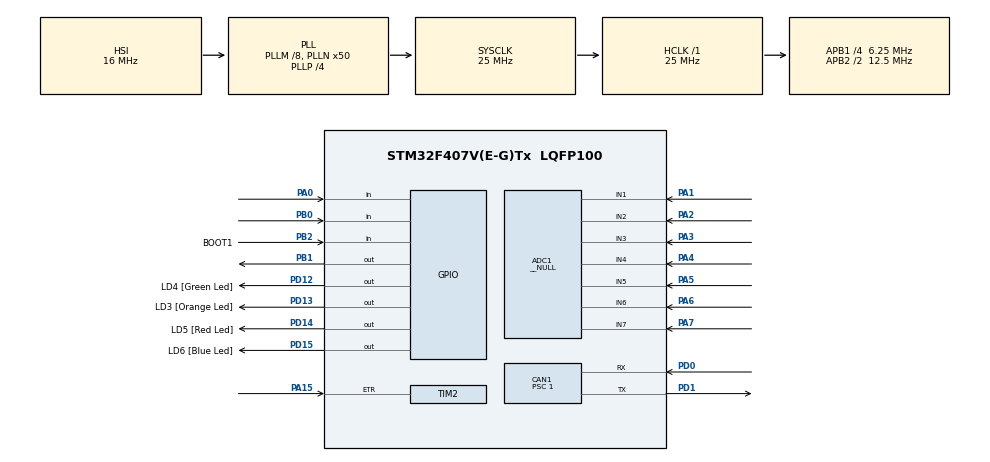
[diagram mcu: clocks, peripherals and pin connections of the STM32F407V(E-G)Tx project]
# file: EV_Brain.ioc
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ADC1.Channel-2\#ChannelRegularConversion=ADC_CHANNEL_1
ADC1.Channel-3\#ChannelRegularConversion=ADC_CHANNEL_1
ADC1.Channel-4\#ChannelRegularConversion=ADC_CHANNEL_1
ADC1.Channel-5\#ChannelRegularConversion=ADC_CHANNEL_1
ADC1.Channel-6\#ChannelRegularConversion=ADC_CHANNEL_1
ADC1.Channel-7\#ChannelRegularConversion=ADC_CHANNEL_1
ADC1.Channel-8\#ChannelRegularConversion=ADC_CHANNEL_1
ADC1.ContinuousConvMode=DISABLE
ADC1.DMAContinuousRequests=ENABLE
ADC1.Mode=__NULL
ADC1.NbrOfConversion=7
ADC1.NbrOfConversionFlag=1
ADC1.Rank-3\#ChannelRegularConversion=2
ADC1.Rank-4\#ChannelRegularConversion=3
ADC1.Rank-5\#ChannelRegularConversion=4
ADC1.Rank-6\#ChannelRegularConversion=5
ADC1.Rank-7\#ChannelRegularConversion=6
ADC1.Rank-8\#ChannelRegularConversion=7
ADC1.SamplingTime-3\#ChannelRegularConversion=ADC_SAMPLETIME_3CYCLES
ADC1.SamplingTime-4\#ChannelRegularConversion=ADC_SAMPLETIME_3CYCLES
ADC1.SamplingTime-5\#ChannelRegularConversion=ADC_SAMPLETIME_3CYCLES
ADC1.SamplingTime-6\#ChannelRegularConversion=ADC_SAMPLETIME_3CYCLES
ADC1.SamplingTime-7\#ChannelRegularConversion=ADC_SAMPLETIME_3CYCLES
ADC1.SamplingTime-8\#ChannelRegularConversion=ADC_SAMPLETIME_3CYCLES
ADC1.ScanConvMode=ENABLE
ADC1.master=1
CAN1.BS1=CAN_BS1_16TQ
CAN1.BS2=CAN_BS2_8TQ
CAN1.CalculateBaudRate=250000
CAN1.CalculateTimeBit=4000
CAN1.CalculateTimeQuantum=160.0
CAN1.Prescaler=1
Dma.ADC1.0.Direction=DMA_PERIPH_TO_MEMORY
Dma.ADC1.0.FIFOMode=DMA_FIFOMODE_DISABLE
Dma.ADC1.0.Instance=DMA2_Stream0
Dma.ADC1.0.MemDataAlignment=DMA_MDATAALIGN_HALFWORD
Dma.ADC1.0.MemInc=DMA_MINC_ENABLE
Dma.ADC1.0.Mode=DMA_CIRCULAR
Dma.ADC1.0.PeriphDataAlignment=DMA_PDATAALIGN_HALFWORD
Dma.ADC1.0.PeriphInc=DMA_PINC_DISABLE
Dma.ADC1.0.Priority=DMA_PRIORITY_VERY_HIGH
Dma.Request0=ADC1
Mcu.Family=STM32F4
Mcu.Name=STM32F407V(E-G)Tx
Mcu.Package=LQFP100
NVIC.ADC_IRQn=true\:0\:0\:false\:false\:true\:true\:true\:true
NVIC.CAN1_RX0_IRQn=true\:0\:0\:false\:false\:true\:true\:true\:true
NVIC.DMA2_Stream0_IRQn=true\:0\:0\:false\:false\:true\:false\:true\:true
NVIC.PriorityGroup=NVIC_PRIORITYGROUP_0
NVIC.TIM2_IRQn=true\:0\:0\:false\:false\:true\:true\:true\:true
PA0-WKUP.GPIO_PuPd=GPIO_PULLDOWN
PA0-WKUP.Signal=GPIO_Input
PA1.Signal=ADCx_IN1
PA13.GPIO_Label=SWDIO
PA13.Mode=Serial_Wire
PA13.Signal=SYS_JTMS-SWDIO
PA14.GPIO_Label=SWCLK
PA14.Mode=Serial_Wire
PA14.Signal=SYS_JTCK-SWCLK
PA15.Signal=S_TIM2_CH1_ETR
PA2.Signal=ADCx_IN2
PA3.Signal=ADCx_IN3
PA4.Signal=ADCx_IN4
PA5.Signal=ADCx_IN5
PA6.Signal=ADCx_IN6
PA7.Signal=ADCx_IN7
PB0.GPIO_PuPd=GPIO_PULLUP
PB0.Signal=GPIO_Input
PB1.GPIO_ModeDefaultOutputPP=GPIO_MODE_OUTPUT_PP
PB1.GPIO_PuPd=GPIO_PULLDOWN
PB1.PinState=GPIO_PIN_RESET
PB1.Signal=GPIO_Output
PB2.GPIO_Label=BOOT1
PB2.GPIO_Mode=GPIO_MODE_INPUT
PB2.GPIO_PuPd=GPIO_NOPULL
PB2.Signal=GPIO_Input
PD0.Mode=CAN_Activate
PD0.Signal=CAN1_RX
PD1.Mode=CAN_Activate
PD1.Signal=CAN1_TX
PD12.GPIO_Label=LD4 [Green Led]
PD12.GPIO_PuPd=GPIO_NOPULL
PD12.GPIO_Speed=GPIO_SPEED_FREQ_LOW
PD12.Signal=GPIO_Output
PD13.GPIO_Label=LD3 [Orange Led]
PD13.GPIO_PuPd=GPIO_NOPULL
PD13.GPIO_Speed=GPIO_SPEED_FREQ_LOW
PD13.Signal=GPIO_Output
PD14.GPIO_Label=LD5 [Red Led]
PD14.GPIO_PuPd=GPIO_NOPULL
PD14.GPIO_Speed=GPIO_SPEED_FREQ_LOW
PD14.Signal=GPIO_Output
PD15.GPIO_Label=LD6 [Blue Led]
PD15.GPIO_PuPd=GPIO_NOPULL
PD15.GPIO_Speed=GPIO_SPEED_FREQ_LOW
PD15.Signal=GPIO_Output
ProjectManager.HeapSize=0x200
ProjectManager.StackSize=0x400
ProjectManager.TargetToolchain=STM32CubeIDE
RCC.48MHZClocksFreq_Value=14285714.285714285
RCC.AHBFreq_Value=25000000
RCC.APB1CLKDivider=RCC_HCLK_DIV4
RCC.APB1Freq_Value=6250000
RCC.APB1TimFreq_Value=12500000
RCC.APB2CLKDivider=RCC_HCLK_DIV2
RCC.APB2Freq_Value=12500000
RCC.APB2TimFreq_Value=25000000
RCC.CortexFreq_Value=25000000
RCC.HCLKFreq_Value=25000000
RCC.HSE_VALUE=8000000
RCC.HSI_VALUE=16000000
RCC.LSE_VALUE=32768
RCC.PLLM=8
RCC.PLLN=50
RCC.PLLP=RCC_PLLP_DIV4
RCC.PLLQ=7
RCC.SYSCLKFreq_VALUE=25000000
RCC.SYSCLKSource=RCC_SYSCLKSOURCE_PLLCLK
RCC.VCOOutputFreq_Value=100000000
SH.ADCx_IN1.0=ADC1_IN1,IN1
SH.ADCx_IN2.0=ADC1_IN2,IN2
SH.ADCx_IN3.0=ADC1_IN3,IN3
SH.ADCx_IN4.0=ADC1_IN4,IN4
SH.ADCx_IN5.0=ADC1_IN5,IN5
SH.ADCx_IN6.0=ADC1_IN6,IN6
SH.ADCx_IN7.0=ADC1_IN7,IN7
SH.S_TIM2_CH1_ETR.0=TIM2_ETR,ClockSourceETR_Mode2
board=STM32F407G-DISC1

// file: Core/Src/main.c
/* USER CODE BEGIN Header */
/**
 ******************************************************************************
 * @file           : main.c
 * @brief          : Main program body
 ******************************************************************************
 * @attention
 *
 * <h2><center>&copy; Copyright (c) 2020 STMicroelectronics.
 * All rights reserved.</center></h2>
 *
 * This software component is licensed by ST under Ultimate Liberty license
 * SLA0044, the "License"; You may not use this file except in compliance with
 * the License. You may obtain a copy of the License at:
 *                             www.st.com/SLA0044
 *
 ******************************************************************************
 */
/* USER CODE END Header */
#include "main.h"

/* USER CODE BEGIN Includes */
#include <string.h>
#include <math.h>
#include <stdio.h>
//#include "demanded_torque_calculator_grt_rtw/demanded_torque_calculator.h"

/* USER CODE END Includes */

/* USER CODE BEGIN PD */
#define false 0
#define true !(false)

/* USER CODE END PD */

ADC_HandleTypeDef hadc1;
DMA_HandleTypeDef hdma_adc1;

CAN_HandleTypeDef hcan1;

TIM_HandleTypeDef htim2;

/* USER CODE BEGIN PV */

// sensor value vars
volatile unsigned int ADC1_outputBuffer[7] = {0, 0, 0, 0, 0, 0, 0}; // raw ADC1 values buffer for DMA
volatile unsigned int acceleratorPedal_ADCoutput[2] = {0, 0};       // raw accelerator pedal ADC1 values
volatile unsigned int brakePedal_ADCoutput[2] = {0, 0};             // raw brake pedal ADC1 values
volatile unsigned int tfc_ADCoutput[3] = {0, 0, 0};                 // raw TFC ADC1 values
unsigned char  brakePedal_percent = 0;                         // brake pedal value as a percent

//unsigned char  brakePedal_percent = 0;       // brake pedal value as a percent
unsigned char  acceleratorPedal_percent = 0; // accelerator pedal value as a percent
unsigned short temp_sensor_DegreesC = 0;     // degrees C
unsigned short flow_sensor_LitresPerMin = 0; // L/min
unsigned short current_sensor_Amperes = 0;   // amps

unsigned char  max_torque_available = 0; // stores current max torque available from the motor based on motor rpm
unsigned short torque_setpoint = 0;      // torque setpoint to send to motor

unsigned char BMS_discrete_inputs_1 = 0; //bitfield for high level BMS information
//int BMS_current_measured = 0; //Not currently being used, we have our own current sensor
signed char min_cell_temp = 0; //temp measurements from BMS
signed char max_cell_temp = 0; //temp measurements from BMS
unsigned char state_of_charge = 0; //% charge, as determined by the BMS
unsigned short battery_voltage = 0; //0.1V per byte, I.E. receiving 0x12C0 = 4800 -> divite by 10 = 480V

unsigned long BMS_internal_state = 0;
unsigned long BMS_error_register_1 = 0; //These 2 error_registers are a bitfield containing information about any errors the BMS experiences

unsigned long BMS_error_register_2 = 0;
unsigned short BMS_discrete_inputs_2 = 0;

// CAN Device IDs
unsigned short MotorControllerCAN_acceptingID = 0x201; // send to this device ID if you're giving the MC a value
unsigned short MotorControllerCAN_sendingID = 0x181;   // you will recieve from this ID if you requested a MC value
unsigned short PowerDistUnitCAN_acceptingID = 0x710;
unsigned short BMS_heartbeat = 0x0A0;
/* A MSG periodically sent out by BMS to confirm that it's still alive
 *
 */
unsigned short BMS_sendingID_1 = 0x1A0;
/* Data from BMS_sendingID_1 includes:
 * some high level status in a bitfield
 * Minimum and Maximum cell temperature
 * Current current, current voltage, state of charge
 */
unsigned short BMS_sendingID_2 = 0x2A0;
/* Data from BMS_sendingID_2 includes:
 * BMS Internal state in a uint32 bitfield
 * Errors register part 1 in a uint32 bitfield
 */
unsigned short BMS_sendingID_3 = 0x3A0;
/* Data from BMS_sendingId_3 includes:
 * Errors register part 2, a uint32 bitfield
 * Additional discrete inputs
 */

// MC register IDs
unsigned short MotorControllerCAN_desiredTorque_register = 0x90;
unsigned short MotorControllerCAN_actualRPM_register = 0x30;

volatile unsigned char conversion_done = 0;

// CAN header templates
CAN_TxHeaderTypeDef sendCANheaderTemplate = {0x201, 0, CAN_ID_STD, CAN_RTR_DATA, 3, 0};

// TODO: figure out how to request data from the MC with this header
CAN_TxHeaderTypeDef requestCANheaderTemplate = {0x181, 0, CAN_ID_STD, CAN_RTR_DATA, 3, 0};

CAN_RxHeaderTypeDef pRxHeader; //This is where the header for received can headers is stored, so it can be processed
unsigned char rData[8]; // where the received CAN messages go

unsigned long pTxMailbox = 0; // CAN mailbox var

// TODO: what is this for?
// recieving CAL stuff
CAN_FilterTypeDef sFilterConfig; //CAN filter configuration

// TODO: figure out how the pedal map works and what it's for
// Constants for the pedal map
const unsigned char REGEN = 0;
const float GAMMA = 1;

// max and min potentiometer values
static const unsigned int AcceleratorPedalSensor1_MAX_ADC_VALUE = 0b111111111111;
static const unsigned int BrakePedalSensor1_MAX_ADC_VALUE = 0b111111111111;
static const unsigned int AcceleratorPedalSensor1_MIN_ADC_VALUE = 0b000000000000;
static const unsigned int BrakePedalSensor1_MIN_ADC_VALUE = 0b000000000000;
unsigned int AcceleratorPedalSensor1_ADC_RANGE = AcceleratorPedalSensor1_MAX_ADC_VALUE - AcceleratorPedalSensor1_MIN_ADC_VALUE;
unsigned int BrakePedalSensor1_ADC_RANGE = BrakePedalSensor1_MAX_ADC_VALUE - BrakePedalSensor1_MIN_ADC_VALUE;

// TODO: what is this for?
unsigned char PEAK_TORQUE_MODE = false;

unsigned char READY_TO_DRIVE = false;
//error handling vars

// TODO: are these values correct? what are they for?
const unsigned char MAX_CONTINUOUS_TORQUE = 125;
const unsigned char MAX_PEAK_TORQUE = 240;

/* USER CODE END PV */

void SystemClock_Config(void);
static void MX_GPIO_Init(void);
static void MX_DMA_Init(void);
static void MX_ADC1_Init(void);
static void MX_CAN1_Init(void);
static void MX_TIM2_Init(void);
/* USER CODE BEGIN PFP */

// TODO: does this need to be a function, or can the steps just be done in main?
static void Initialize_CAN_Filter(CAN_HandleTypeDef *hcan, CAN_FilterTypeDef *sFilterConfig, unsigned int fifo, unsigned int highId,
		unsigned int lowId, unsigned int highMask, unsigned int lowMask, unsigned int scale);

/* USER CODE END PFP */

/* USER CODE BEGIN 0 */

//this could be replaced with a global state variable if any errors are present
void emergency_stop(){
	/*TODO: literally all the error handling, we build race cars, not death traps
	 * We need a bunch of new global variables to be able to put the car into an error state
	 * Its about to get spicy up in here
	 *
	 *
	 *
	 *
	 *
	 *
	 *
	 */
	READY_TO_DRIVE = false; //first, change vehicle states
	//TODO: MANUALLY set the shutdown pin, just in case the code never actually executes
}

void BMS_Msg_received(){
	//resets the BMS watchdog timeout
	//TODO: implement this system
}

unsigned char receive_CAN(){ //takes inputs from things like the BMS and motor controller and stores incoming data in appropriate locations
	unsigned long msg_id = (pRxHeader.IDE == CAN_ID_STD)? pRxHeader.StdId : pRxHeader.ExtId;

	//TODO: make sure that this list contains the ID's of all other nodes that send to the MCU
	/*
	All BMS data is defined in the movicom CAN PDO protocols available on their website at the following
	link:
	It's pretty cool, you should check it out
	Pretty much, what the following code does is
	*/
	if(msg_id == BMS_heartbeat){
		BMS_Msg_received();
	}
	else if(msg_id == BMS_sendingID_1){
		BMS_Msg_received(); //VOODOO MAGIC DO NOT TOUCH
		BMS_discrete_inputs_1 = rData[0];
		//we dont need rData[1] and rData[2] right now, we have our own current sensor :)
		min_cell_temp = (signed char)rData[3];
		max_cell_temp = (signed char)rData[4];
		state_of_charge = rData[5];
		battery_voltage = ((((unsigned short)(rData[7]))<<8)+rData[6])/10;//Can you tell I don't trust the compiler's operator precedence?

		if (max_cell_temp > MAX_ACCUMULATOR_TEMP){ //do something if accumulator is overheating
			emergency_stop();
		} else if(min_cell_temp < MIN_ACCUMULATOR_TEMP){ //you don't want to start the car if too cold, it's bad for the accumulator

		}

	}else if(msg_id == BMS_sendingID_2){
		BMS_Msg_received(); //VOODOO MAGIC DO NOT TOUCH
		BMS_internal_state = ((((unsigned long)rData[0])<<24)|(((unsigned long)rData[1])<<16)|
				(((unsigned long)rData[2])<<8)|((unsigned long)rData[3])); //when the endian-ness is not correct :(
		BMS_error_register_1 = ((((unsigned long)rData[4])<<24)|(((unsigned long)rData[5])<<16)|
				(((unsigned long)rData[6])<<8)|((unsigned long)rData[7]));
		if(BMS_error_register_1 & 0xFFFFFFFF){ // the "& 0xFFFFFFFF" is here so in the future we can differentiate critical and non critical errors
			emergency_stop();
		}
	}else if(msg_id == BMS_sendingID_3){
		BMS_Msg_received();//VOODOO MAGIC DO NOT TOUCH
		BMS_error_register_2 = ((((unsigned long)rData[0])<<24)|(((unsigned long)rData[1])<<16)|
				(((unsigned long)rData[2])<<8)|((unsigned long)rData[3]));
		BMS_discrete_inputs_2 = ((((unsigned short)(rData[5]))<<8)+rData[4]);
		//rData[6] and rData[7] are reserved
		if(BMS_error_register_2 & 0xFFFFFFFF){ // the "& 0xFFFFFFFF" is here so in the future we can differentiate critical and non critical errors
			emergency_stop();
		}else if(BMS_discrete_inputs_2){//placeholder

		}
	}else if(msg_id == MotorControllerCAN_sendingID){

	} else { // unknown sender, what the fuck?

	}

	return 0;
}

// destinationRegisterID is the ID (hex) of the register to send the data to, defined as a var above
// data is just a value, not an array - this function formats it for you
unsigned char sendCAN_MotorController(unsigned short destinationRegisterID, unsigned int data)
{
  sendCANheaderTemplate.StdId = MotorControllerCAN_acceptingID;
  sendCANheaderTemplate.DLC = 3;

  unsigned char formattedData[3] = {destinationRegisterID, 0xFF & data, (0xFF00 & data) >> 8};

  if (HAL_CAN_AddTxMessage(&hcan1, &sendCANheaderTemplate, formattedData, &pTxMailbox))
  {
    return 0;
  }

  return 1;
}

// TODO: above in global vars, define vars for each of the channels (ex. unsigned char FAN1 = 0xB)
// if highAmpsBool == 0, PDU chooses 5A instead of 20A
// if enableCircuitBool == 0, PDU turns the circuit off
// channelHex should be one of the vars defined above
unsigned char sendCANmsg_PDU(unsigned char enableCircuitBool, unsigned char highAmpsBool, unsigned char channelHex)
{
  sendCANheaderTemplate.StdId = PowerDistUnitCAN_acceptingID;
  sendCANheaderTemplate.DLC = 1;

  unsigned char formattedData[1] = {0b00000000}; // HAL_CAN_AddTxMessage takes an array for data

  if (enableCircuitBool) formattedData[0] = formattedData[0] | 0b00010000;   // set enableCircuitBool bit
  if (highAmpsBool) formattedData[0] = formattedData[0] | 0b00100000; // set highAmpsBool bit
  formattedData[0] = formattedData[0] | (channelHex & 0b1111);       // set channel bits

  if (HAL_CAN_AddTxMessage(&hcan1, &sendCANheaderTemplate, formattedData, &pTxMailbox) == HAL_OK)
  {
    return 0;
  }

  return 1;
}

// TODO: implement dash function: define device IDs, figure out how to format data
/*
 * I am going to have a fucking aneurism. Why is the CAN message ID passed in as an argument to this function, but this function is specifically for the damn dash!!
 *
 * FIX IT!!!!!!!!
 */
unsigned char sendCANmsg_DASH(unsigned char destinationID, unsigned char data)
{
  sendCANheaderTemplate.StdId = destinationID;
  sendCANheaderTemplate.DLC = 1;

  unsigned char formattedData[1] = {0b00000000}; // HAL_CAN_AddTxMessage takes an array for data

  // TODO: format data here

  if (HAL_CAN_AddTxMessage(&hcan1, &sendCANheaderTemplate, formattedData, &pTxMailbox) == HAL_OK)
  {
    return 0;
  }

  return 1;
}

// TODO: which of this and the next function should we use to calculate torque?
// Returns the maximum continuous torque available at the current rpm
float max_cont_torque_available(unsigned short rpm)
{
	float t = (-0.000003 * rpm * rpm) + (0.0192 * rpm) + (97.429);
	if (t < 0)
		return 0;
	if (t > MAX_CONTINUOUS_TORQUE)
		return MAX_CONTINUOUS_TORQUE;
	return t;
}

// Returns the maximum peak torque available at the current rpm
// How was this derived?
float peak_torque_available(unsigned short rpm)
{
	float t = (-0.000001 * rpm * rpm) + (0.0029 * rpm) + (239.57);
	if (t < 0)
		return 0;
	if (t > MAX_PEAK_TORQUE)
		return MAX_PEAK_TORQUE;
	return t;
}

// TODO: when is the system plausible? I have an issue with the methodology here since the implausible state should exist for a few seconds
// Returns true if the car is not in or recovering from an implausible state
unsigned char plausibility_check(unsigned char acceleratorPedal_percent, unsigned char brakePedal_percent)
{
	// check if the system is in an implausible state
  return true;
}

// TODO: what is this for?
// Calculate the demanded torque based on the pedal sensor actuation
// Based on equation from section 3.3.3 of the paper linked below
// https://www.researchgate.net/publication/323522409_Design_and_realization_of_a_One-Pedal-Driving_algorithm_for_the_TUe_Lupo_EL
float pedal_map(float throttle, float max_trq)
{
  return pow((throttle - REGEN) / (max_trq - REGEN), GAMMA);
}

void driving_tasks() //TODO fix the damn spacing
{
	HAL_ADC_Start_DMA(&hadc1, (uint32_t*)ADC1_outputBuffer, 7);
	while(!conversion_done)
	{
		// wait
	}
	conversion_done = 0;

  // Convert [sensor value] -> [% activation]
  acceleratorPedal_percent = (unsigned char)((((double)(acceleratorPedal_ADCoutput[0] - AcceleratorPedalSensor1_MIN_ADC_VALUE)) / AcceleratorPedalSensor1_ADC_RANGE) * 100);
  brakePedal_percent = (unsigned char)((((double)(brakePedal_ADCoutput[0] - BrakePedalSensor1_MIN_ADC_VALUE)) / BrakePedalSensor1_ADC_RANGE) * 100);

  // TODO: check accelerator values against eachother.

  // TODO: Send pedal position can messages to LCD

  // If in a plausible state, convert pedal sensor actuation to desired torque
  if (plausibility_check(acceleratorPedal_percent, brakePedal_percent))
  {
    // TODO: get motor current RPM
    // TODO: calculate max torque value here, based on motor RPM
    max_torque_available = 100;
    torque_setpoint = (pedal_map(acceleratorPedal_percent, max_torque_available) / 240) * 32767;
  }else{
    // if not in plausible state, set demanded torque to 0
    // ! may need to trigger shutdown circuit here
    torque_setpoint = 0;
  }

  // TEST CAN MESSAGES

  // for PCAN
  //sendCAN_MotorController(0x069, acceleratorPedal_percent);
  //sendCAN_MotorController(0x096, brakePedal_percent);

  // for motor rpm
  //sendCAN_MotorController(0x31, (acceleratorPedal_percent*3277)/100); // send motor desired RPM to MC
  //sendCAN_MotorController(0x31, 0xF0F0);

  // Are we sending raw unprocessed ADC data to the Motor Controller? No torque map is applied here
  unsigned char formattedData[3] = {(0xF00 & acceleratorPedal_ADCoutput[0]) >> 8, (0x0F0 & acceleratorPedal_ADCoutput[0]) >> 4, 0x00F & acceleratorPedal_ADCoutput[0]}; //Someone explain pls
  sendCANheaderTemplate.StdId = MotorControllerCAN_acceptingID;
  sendCANheaderTemplate.DLC = 3;
  HAL_CAN_AddTxMessage(&hcan1, &sendCANheaderTemplate, formattedData, &pTxMailbox);

  // END TEST CAN MESSAGES

  // ACTUAL CAN MESSAGE
  //sendCAN_MotorController(MotorControllerCAN_desiredTorque_register, torque_setpoint); // send torque CAN message

  return;
}

void waiting_to_drive_tasks()
{
	// TODO: Figure out what signals we need to check for
	// for now it will just be a button press

	/*
	// Check if the button is pressed
	if((GPIOA->IDR & GPIO_PIN_0) == true)
	{
		// TODO: pdu message to play sound

		// TODO: pdu message to close hw enable switch on controller

		READY_TO_DRIVE = true;
		HAL_GPIO_WritePin(GPIOD, GPIO_PIN_13, GPIO_PIN_SET); //orng
	}
	*/

	if(HAL_GPIO_ReadPin(GPIOB, GPIO_PIN_0) == GPIO_PIN_RESET) //PB0, 35, has pull-up
	{
		READY_TO_DRIVE = true;
		HAL_GPIO_WritePin(GPIOD, GPIO_PIN_12, GPIO_PIN_SET); //grn
	}

	return;
}

/* USER CODE END 0 */

int main(void)
{

  /* MCU Configuration--------------------------------------------------------*/

  /* Reset of all peripherals, Initializes the Flash interface and the Systick. */
  HAL_Init();

  /* Configure the system clock */
  SystemClock_Config();

  /* Initialize all configured peripherals */
  MX_GPIO_Init();
  MX_DMA_Init();
  MX_ADC1_Init();
  MX_CAN1_Init();
  MX_TIM2_Init();
  /* USER CODE BEGIN 2 */

  HAL_GPIO_WritePin(GPIOD, GPIO_PIN_12, GPIO_PIN_RESET); //grn
  HAL_GPIO_WritePin(GPIOD, GPIO_PIN_13, GPIO_PIN_RESET); //orng

	//Initialize CAN filter - filter ID = TxHeader Id of other device, 32 bit scale. Enables and configs filter.
	Initialize_CAN_Filter(&hcan1, &sFilterConfig, CAN_FILTER_FIFO0, MotorControllerCAN_acceptingID, 0, 0, 0, CAN_FILTERSCALE_32BIT);

	//start CAN
	HAL_CAN_Start(&hcan1);

	//interrupt on message pending
	HAL_CAN_ActivateNotification(&hcan1, CAN_IT_RX_FIFO0_MSG_PENDING);

  // start ADC1 and DMA channel
  //HAL_ADC_Start_DMA(&hadc1, (uint32_t*)ADC1_outputBuffer, 7);
  HAL_ADC_Start(&hadc1);

  /* USER CODE END 2 */

  /* Infinite loop */
  /* USER CODE BEGIN WHILE */

	while(1)
	{
		if(READY_TO_DRIVE == true)
		{
		  driving_tasks();
		}
		else
		{
			waiting_to_drive_tasks();
		}

		//Anything we want to do regardless of the current state? like monitor coolant, etc...

    /* USER CODE END WHILE */

	}
}

void SystemClock_Config(void)
{
  RCC_OscInitTypeDef RCC_OscInitStruct = {0};
  RCC_ClkInitTypeDef RCC_ClkInitStruct = {0};

  /** Configure the main internal regulator output voltage
  */
  __HAL_RCC_PWR_CLK_ENABLE();
  __HAL_PWR_VOLTAGESCALING_CONFIG(PWR_REGULATOR_VOLTAGE_SCALE1);

  /** Initializes the RCC Oscillators according to the specified parameters
  * in the RCC_OscInitTypeDef structure.
  */
  RCC_OscInitStruct.OscillatorType = RCC_OSCILLATORTYPE_HSI;
  RCC_OscInitStruct.HSIState = RCC_HSI_ON;
  RCC_OscInitStruct.HSICalibrationValue = RCC_HSICALIBRATION_DEFAULT;
  RCC_OscInitStruct.PLL.PLLState = RCC_PLL_ON;
  RCC_OscInitStruct.PLL.PLLSource = RCC_PLLSOURCE_HSI;
  RCC_OscInitStruct.PLL.PLLM = 8;
  RCC_OscInitStruct.PLL.PLLN = 50;
  RCC_OscInitStruct.PLL.PLLP = RCC_PLLP_DIV4;
  RCC_OscInitStruct.PLL.PLLQ = 7;
  if (HAL_RCC_OscConfig(&RCC_OscInitStruct) != HAL_OK)
  {
    Error_Handler();
  }

  /** Initializes the CPU, AHB and APB buses clocks
  */
  RCC_ClkInitStruct.ClockType = RCC_CLOCKTYPE_HCLK|RCC_CLOCKTYPE_SYSCLK
                              |RCC_CLOCKTYPE_PCLK1|RCC_CLOCKTYPE_PCLK2;
  RCC_ClkInitStruct.SYSCLKSource = RCC_SYSCLKSOURCE_PLLCLK;
  RCC_ClkInitStruct.AHBCLKDivider = RCC_SYSCLK_DIV1;
  RCC_ClkInitStruct.APB1CLKDivider = RCC_HCLK_DIV4;
  RCC_ClkInitStruct.APB2CLKDivider = RCC_HCLK_DIV2;

  if (HAL_RCC_ClockConfig(&RCC_ClkInitStruct, FLASH_LATENCY_0) != HAL_OK)
  {
    Error_Handler();
  }
}

static void MX_ADC1_Init(void)
{

  ADC_ChannelConfTypeDef sConfig = {0};

  /** Configure the global features of the ADC (Clock, Resolution, Data Alignment and number of conversion)
  */
  hadc1.Instance = ADC1;
  hadc1.Init.ClockPrescaler = ADC_CLOCK_SYNC_PCLK_DIV2;
  hadc1.Init.Resolution = ADC_RESOLUTION_12B;
  hadc1.Init.ScanConvMode = ENABLE;
  hadc1.Init.ContinuousConvMode = DISABLE;
  hadc1.Init.DiscontinuousConvMode = DISABLE;
  hadc1.Init.ExternalTrigConvEdge = ADC_EXTERNALTRIGCONVEDGE_NONE;
  hadc1.Init.ExternalTrigConv = ADC_SOFTWARE_START;
  hadc1.Init.DataAlign = ADC_DATAALIGN_RIGHT;
  hadc1.Init.NbrOfConversion = 7;
  hadc1.Init.DMAContinuousRequests = ENABLE;
  hadc1.Init.EOCSelection = ADC_EOC_SINGLE_CONV;
  if (HAL_ADC_Init(&hadc1) != HAL_OK)
  {
    Error_Handler();
  }

  /** Configure for the selected ADC regular channel its corresponding rank in the sequencer and its sample time.
  */
  sConfig.Channel = ADC_CHANNEL_1;
  sConfig.Rank = 1;
  sConfig.SamplingTime = ADC_SAMPLETIME_3CYCLES;
  if (HAL_ADC_ConfigChannel(&hadc1, &sConfig) != HAL_OK)
  {
    Error_Handler();
  }

  /** Configure for the selected ADC regular channel its corresponding rank in the sequencer and its sample time.
  */
  sConfig.Rank = 2;
  if (HAL_ADC_ConfigChannel(&hadc1, &sConfig) != HAL_OK)
  {
    Error_Handler();
  }

  /** Configure for the selected ADC regular channel its corresponding rank in the sequencer and its sample time.
  */
  sConfig.Rank = 3;
  if (HAL_ADC_ConfigChannel(&hadc1, &sConfig) != HAL_OK)
  {
    Error_Handler();
  }

  /** Configure for the selected ADC regular channel its corresponding rank in the sequencer and its sample time.
  */
  sConfig.Rank = 4;
  if (HAL_ADC_ConfigChannel(&hadc1, &sConfig) != HAL_OK)
  {
    Error_Handler();
  }

  /** Configure for the selected ADC regular channel its corresponding rank in the sequencer and its sample time.
  */
  sConfig.Rank = 5;
  if (HAL_ADC_ConfigChannel(&hadc1, &sConfig) != HAL_OK)
  {
    Error_Handler();
  }

  /** Configure for the selected ADC regular channel its corresponding rank in the sequencer and its sample time.
  */
  sConfig.Rank = 6;
  if (HAL_ADC_ConfigChannel(&hadc1, &sConfig) != HAL_OK)
  {
    Error_Handler();
  }

  /** Configure for the selected ADC regular channel its corresponding rank in the sequencer and its sample time.
  */
  sConfig.Rank = 7;
  if (HAL_ADC_ConfigChannel(&hadc1, &sConfig) != HAL_OK)
  {
    Error_Handler();
  }

}

static void MX_CAN1_Init(void)
{

  hcan1.Instance = CAN1;
  hcan1.Init.Prescaler = 1;
  hcan1.Init.Mode = CAN_MODE_NORMAL;
  hcan1.Init.SyncJumpWidth = CAN_SJW_1TQ;
  hcan1.Init.TimeSeg1 = CAN_BS1_16TQ;
  hcan1.Init.TimeSeg2 = CAN_BS2_8TQ;
  hcan1.Init.TimeTriggeredMode = DISABLE;
  hcan1.Init.AutoBusOff = DISABLE;
  hcan1.Init.AutoWakeUp = DISABLE;
  hcan1.Init.AutoRetransmission = DISABLE;
  hcan1.Init.ReceiveFifoLocked = DISABLE;
  hcan1.Init.TransmitFifoPriority = DISABLE;
  if (HAL_CAN_Init(&hcan1) != HAL_OK)
  {
    Error_Handler();
  }

}

static void MX_TIM2_Init(void)
{

  TIM_ClockConfigTypeDef sClockSourceConfig = {0};
  TIM_MasterConfigTypeDef sMasterConfig = {0};

  htim2.Instance = TIM2;
  htim2.Init.Prescaler = 0;
  htim2.Init.CounterMode = TIM_COUNTERMODE_UP;
  htim2.Init.Period = 4294967295;
  htim2.Init.ClockDivision = TIM_CLOCKDIVISION_DIV1;
  htim2.Init.AutoReloadPreload = TIM_AUTORELOAD_PRELOAD_DISABLE;
  if (HAL_TIM_Base_Init(&htim2) != HAL_OK)
  {
    Error_Handler();
  }
  sClockSourceConfig.ClockSource = TIM_CLOCKSOURCE_ETRMODE2;
  sClockSourceConfig.ClockPolarity = TIM_CLOCKPOLARITY_NONINVERTED;
  sClockSourceConfig.ClockPrescaler = TIM_CLOCKPRESCALER_DIV1;
  sClockSourceConfig.ClockFilter = 0;
  if (HAL_TIM_ConfigClockSource(&htim2, &sClockSourceConfig) != HAL_OK)
  {
    Error_Handler();
  }
  sMasterConfig.MasterOutputTrigger = TIM_TRGO_RESET;
  sMasterConfig.MasterSlaveMode = TIM_MASTERSLAVEMODE_DISABLE;
  if (HAL_TIMEx_MasterConfigSynchronization(&htim2, &sMasterConfig) != HAL_OK)
  {
    Error_Handler();
  }

}

static void MX_DMA_Init(void)
{

  /* DMA controller clock enable */
  __HAL_RCC_DMA2_CLK_ENABLE();

  /* DMA interrupt init */
  /* DMA2_Stream0_IRQn interrupt configuration */
  HAL_NVIC_SetPriority(DMA2_Stream0_IRQn, 0, 0);
  HAL_NVIC_EnableIRQ(DMA2_Stream0_IRQn);

}

static void MX_GPIO_Init(void)
{
  GPIO_InitTypeDef GPIO_InitStruct = {0};

  /* GPIO Ports Clock Enable */
  __HAL_RCC_GPIOA_CLK_ENABLE();
  __HAL_RCC_GPIOB_CLK_ENABLE();
  __HAL_RCC_GPIOD_CLK_ENABLE();

  /*Configure GPIO pin Output Level */
  HAL_GPIO_WritePin(GPIOB, GPIO_PIN_1, GPIO_PIN_RESET);

  /*Configure GPIO pin Output Level */
  HAL_GPIO_WritePin(GPIOD, LD4_Pin|LD3_Pin|LD5_Pin|LD6_Pin, GPIO_PIN_RESET);

  /*Configure GPIO pin : PA0 */
  GPIO_InitStruct.Pin = GPIO_PIN_0;
  GPIO_InitStruct.Mode = GPIO_MODE_INPUT;
  GPIO_InitStruct.Pull = GPIO_PULLDOWN;
  HAL_GPIO_Init(GPIOA, &GPIO_InitStruct);

  /*Configure GPIO pin : PB0 */
  GPIO_InitStruct.Pin = GPIO_PIN_0;
  GPIO_InitStruct.Mode = GPIO_MODE_INPUT;
  GPIO_InitStruct.Pull = GPIO_PULLUP;
  HAL_GPIO_Init(GPIOB, &GPIO_InitStruct);

  /*Configure GPIO pin : PB1 */
  GPIO_InitStruct.Pin = GPIO_PIN_1;
  GPIO_InitStruct.Mode = GPIO_MODE_OUTPUT_PP;
  GPIO_InitStruct.Pull = GPIO_PULLDOWN;
  GPIO_InitStruct.Speed = GPIO_SPEED_FREQ_LOW;
  HAL_GPIO_Init(GPIOB, &GPIO_InitStruct);

  /*Configure GPIO pin : BOOT1_Pin */
  GPIO_InitStruct.Pin = BOOT1_Pin;
  GPIO_InitStruct.Mode = GPIO_MODE_INPUT;
  GPIO_InitStruct.Pull = GPIO_NOPULL;
  HAL_GPIO_Init(BOOT1_GPIO_Port, &GPIO_InitStruct);

  /*Configure GPIO pins : LD4_Pin LD3_Pin LD5_Pin LD6_Pin */
  GPIO_InitStruct.Pin = LD4_Pin|LD3_Pin|LD5_Pin|LD6_Pin;
  GPIO_InitStruct.Mode = GPIO_MODE_OUTPUT_PP;
  GPIO_InitStruct.Pull = GPIO_NOPULL;
  GPIO_InitStruct.Speed = GPIO_SPEED_FREQ_LOW;
  HAL_GPIO_Init(GPIOD, &GPIO_InitStruct);

}

/* USER CODE BEGIN 4 */

/**
 * @brief CAN Filter Initialization Function
 * @param hcan          : pointer to a CAN_HandleTypeDef structure that contains the configuration information for the specified CAN.
 *        sFilterConfig : pointer to a CAN_FilterTypeDef structure.
 * 	   fifo          : Specifies the FIFO (0 or 1) which will be assigned to the filter. This parameter can be a value of CAN_filter_FIFO
 * 	   highID        : Specifies the filter identification number (MSBs for a 32-bit configuration, first one for a 16-bit configuration). This parameter can be a value between 0x0000 and 0xFFFF
 * 	   lowID         : Specifies the filter identification number (LSBs for a 32-bit configuration, second one for a 16-bit configuration). This parameter can be a value between 0x0000 and 0xFFFF
 * 	   highMask      : Specifies the filter mask number or identification number, according to the mode (MSBs for a 32-bit configuration, first one for a 16-bit configuration). This parameter can be a value between 0x0000 and 0xFFFF
 * 	   lowMask       : Specifies the filter mask number or identification number, according to the mode (LSBs for a 32-bit configuration, second one for a 16-bit configuration). This parameter can be a value between 0x0000 and 0xFFFF
 * 	   scale         : Specifies the filter scale. This parameter can be a value of CAN_filter_scale
 * @retval None
 */
static void Initialize_CAN_Filter(CAN_HandleTypeDef *hcan, CAN_FilterTypeDef *sFilterConfig, unsigned int fifo, unsigned int highId,
		unsigned int lowId, unsigned int highMask, unsigned int lowMask, unsigned int scale)
{
	sFilterConfig->FilterFIFOAssignment = fifo;
	sFilterConfig->FilterIdHigh = highId << 5; //must be shifted 5 bits to the left according to reference manual
	sFilterConfig->FilterIdLow = lowId;
	sFilterConfig->FilterMaskIdHigh = highMask;
	sFilterConfig->FilterMaskIdLow = lowMask;
	sFilterConfig->FilterScale = scale;
	sFilterConfig->FilterActivation = CAN_FILTER_ENABLE; //enable activation

	HAL_CAN_ConfigFilter(hcan, sFilterConfig); //config CAN filter
}

// Called when ADC1 DMA buffer is completely filled
void HAL_ADC_ConvCpltCallback(ADC_HandleTypeDef *hadc1)
{
  acceleratorPedal_ADCoutput[0] = ADC1_outputBuffer[0];
  acceleratorPedal_ADCoutput[1] = ADC1_outputBuffer[1];
  brakePedal_ADCoutput[0] = ADC1_outputBuffer[2];
  brakePedal_ADCoutput[1] = ADC1_outputBuffer[3];
  tfc_ADCoutput[0] = ADC1_outputBuffer[4];
  tfc_ADCoutput[1] = ADC1_outputBuffer[5];
  tfc_ADCoutput[2] = ADC1_outputBuffer[6];
  conversion_done = 1;
}

/* USER CODE END 4 */

void Error_Handler(void)
{
}
